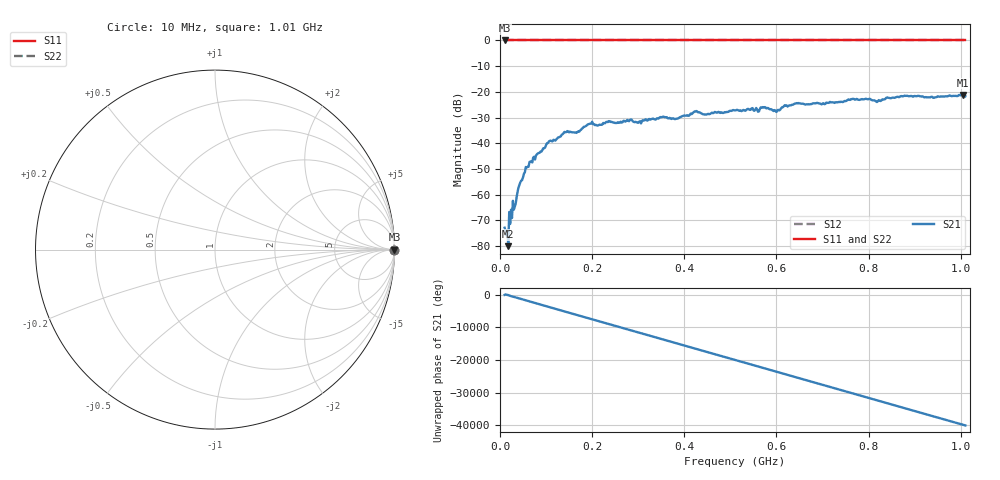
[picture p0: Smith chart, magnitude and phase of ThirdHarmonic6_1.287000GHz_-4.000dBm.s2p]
! 8/16/2025 2:02:47 PM
! C:\ANRITSUVNA\TEMP\TEMP.S2P
! CHANNEL.1
! TR.MEASUREMENT
! RAW.DATA
! RF.CORRECTION.OFF
! AVERAGING.OFF
! IF.BANDWIDTH: 5KHZ
! SWEEPTYPE:  FREQ.SWEEP(Linear)
! Reference Plane Port Info
! PORT:  PORT1  PORT2
! DISTANCE:  0  m  0  m
! TIME:  0  s  0  s
! PHASE.OFFSET:  0  deg.  0  deg.
! LOSS:  0  dB  0  dB
! REF.LOSS:  0  dB  0  dB
! REF.FREQ:  0  Hz  0  Hz
! Power Info
! POWER:  -20  dBm  -20  dBm
! EFF.POWER:  -20  dBm  -20  dBm
! SOURCE.ATTEN:  0  dB  0  dB
! TEST.ATTEN:  0  dB  0  dB
# GHZ S RI R 50.0
! FREQ.GHZ  S11RE  S11IM  S21RE  S21IM  S12RE  S12IM  S22RE  S22IM
!; PortSelection: Port_12
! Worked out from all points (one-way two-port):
!   501 points, 10 MHz to 1.01 GHz, reference 50 ohm
!   highest |S21| = -21.21 dB at 1.004 GHz (marker M1); lowest = -80.1 dB at 18 MHz (marker M2)
!   lowest |S11| = 0.0 dB at 10 MHz (marker M3)
!   |S11| at or under -10 dB: nowhere
!   |S22| runs from 0.0 to 0.0 dB; largest |S21 - S12| = 1.1
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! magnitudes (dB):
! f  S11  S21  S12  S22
! 10 MHz  0.0  -72.9  0.0  0.0
! 14 MHz  0.0  -75.8  0.0  0.0
! 18 MHz  0.0  -80.1  0.0  0.0
! 22 MHz  0.0  -71.5  0.0  0.0
! 24 MHz  0.0  -65.9  0.0  0.0
! 34 MHz  0.0  -63.6  0.0  0.0
! 42 MHz  0.0  -56.3  0.0  0.0
! 60 MHz  0.0  -49.2  0.0  0.0
! 106 MHz  0.0  -39.4  0.0  0.0
! 142 MHz  0.0  -35.7  0.0  0.0
! 178 MHz  0.0  -34.3  0.0  0.0
! 196 MHz  0.0  -32.4  0.0  0.0
! 302 MHz  0.0  -31.6  0.0  0.0
! 344 MHz  0.0  -30.4  0.0  0.0
! 510 MHz  0.0  -27.2  0.0  0.0
! 572 MHz  0.0  -26.1  0.0  0.0
! 596 MHz  0.0  -27.1  0.0  0.0
! 644 MHz  0.0  -24.4  0.0  0.0
! 678 MHz  0.0  -24.6  0.0  0.0
! 844 MHz  0.0  -22.3  0.0  0.0
! 1.004 GHz  0.0  -21.2  0.0  0.0
! 1.01 GHz  0.0  -21.7  0.0  0.0
